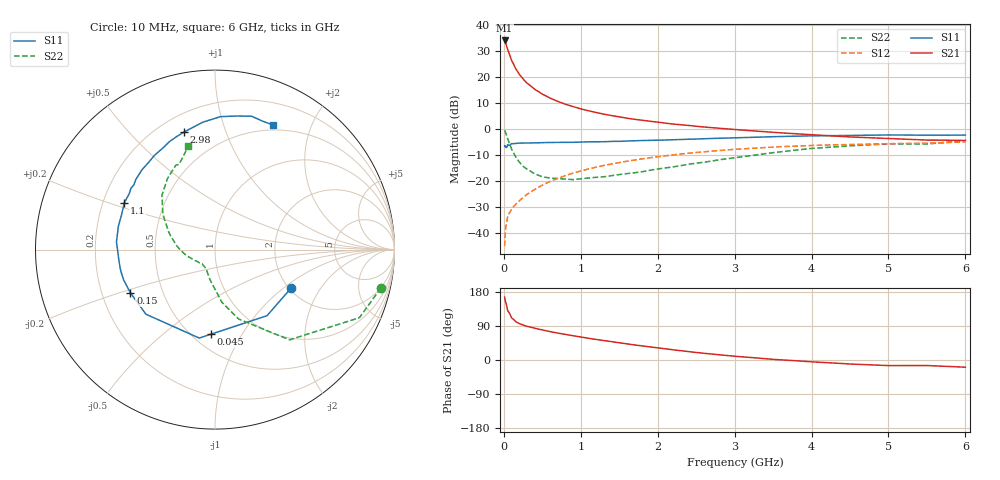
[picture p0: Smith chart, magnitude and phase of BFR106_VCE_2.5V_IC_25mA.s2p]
! Infineon Technologies  Discrete & RF Semiconductors
! BFR106
! VCE =  2.5 V,  IC =  25 mA
! Common Emitter S-Parameters:  Nov 2015
# GHz  S  MA  R  50
!  f  S11  S21  S12  S22
! GHz  MAG  ANG  MAG  ANG  MAG  ANG  MAG  ANG
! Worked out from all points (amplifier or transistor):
!   210 points, 10 MHz to 6 GHz, reference 50 ohm
!   highest |S21| = 34.2 dB at 10 MHz (marker M1)
!   |S21| within 3 dB of that: start of sweep to 44.28 MHz
!   unconditionally stable (mu >= 1): 334.6 MHz to 2.445 GHz; 5.261 GHz to end of sweep
!   at 185 MHz: K = 0.83, MSG = 25.0 dB, |S12| = -28.1 dB
!   at 1.52 GHz: K = 1.06, MAG = 7.2 dB, |S12| = -12.8 dB
!   at 6 GHz: K = 1.01, MAG = -0.2 dB, |S12| = -5.0 dB
!   S11 on the Smith chart (normalised r, x): 10 MHz: 2.04, -1.14; 45 MHz: 0.61, -0.74; 150 MHz: 0.32, -0.22; 1.1 GHz: 0.29, +0.22; 2.98 GHz: 0.30, +0.72; 6 GHz: 0.44, +1.48
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0.01  0.4745 -27.1  51.33 166.2  0.0055 84.5  0.9487 -13.0
0.02  0.4685 -51.8  47.52 154.8  0.0107 71.6  0.8899 -25.2
0.045  0.4727 -93.0  36.07 135.4  0.0189 59.5  0.6808 -45.1
0.05  0.5006 -100.1  34.47 130.1  0.0206 58.2  0.6524 -50.4
0.1  0.527 -136.9  21.31 111.1  0.0285 53.6  0.4086 -71.2
0.15  0.5292 -152.9  14.9 101.6  0.0349 55.2  0.2949 -82.7
0.2  0.5363 -161.6  11.48 96.1  0.0411 58.2  0.2319 -88.5
0.26  0.5385 -168.8  8.926 91.3  0.0491 61.1  0.1862 -95.8
0.3  0.5384 -172.2  7.746 88.8  0.0548 62.8  0.1692 -99.6
0.4  0.5427 -179.3  5.88 83.6  0.068 65.3  0.1372 -107.6
0.5  0.5505 175.6  4.729 79.2  0.0826 66.3  0.1202 -113.5
0.6  0.5502 170.7  3.967 74.9  0.0972 66.6  0.1136 -118.3
0.8  0.5535 163.3  3.015 67.5  0.1266 65.6  0.1083 -129.1
1.02  0.5622 155.4  2.414 60.1  0.1584 64.0  0.1104 -136.6
1.1  0.5688 152.7  2.252 57.3  0.1699 63.1  0.1142 -139.9
1.6  0.5895 138.4  1.621 42.5  0.2396 56.5  0.1384 -157.8
2.02  0.6108 127.2  1.342 31.5  0.2951 50.2  0.1717 -171.9
2.98  0.6766 105.0  0.986 10.3  0.4044 35.2  0.2764 159.0
3.1  0.6836 102.7  0.956 8.4  0.415 33.2  0.2919 155.5
4.1  0.7431 86.2  0.761 -5.9  0.4883 17.9  0.4329 131.9
5.1  0.7684 73.6  0.648 -14.7  0.5254 5.4  0.5179 114.5
6  0.7659 65.1  0.606 -19.0  0.5645 -4.2  0.5947 104.5
